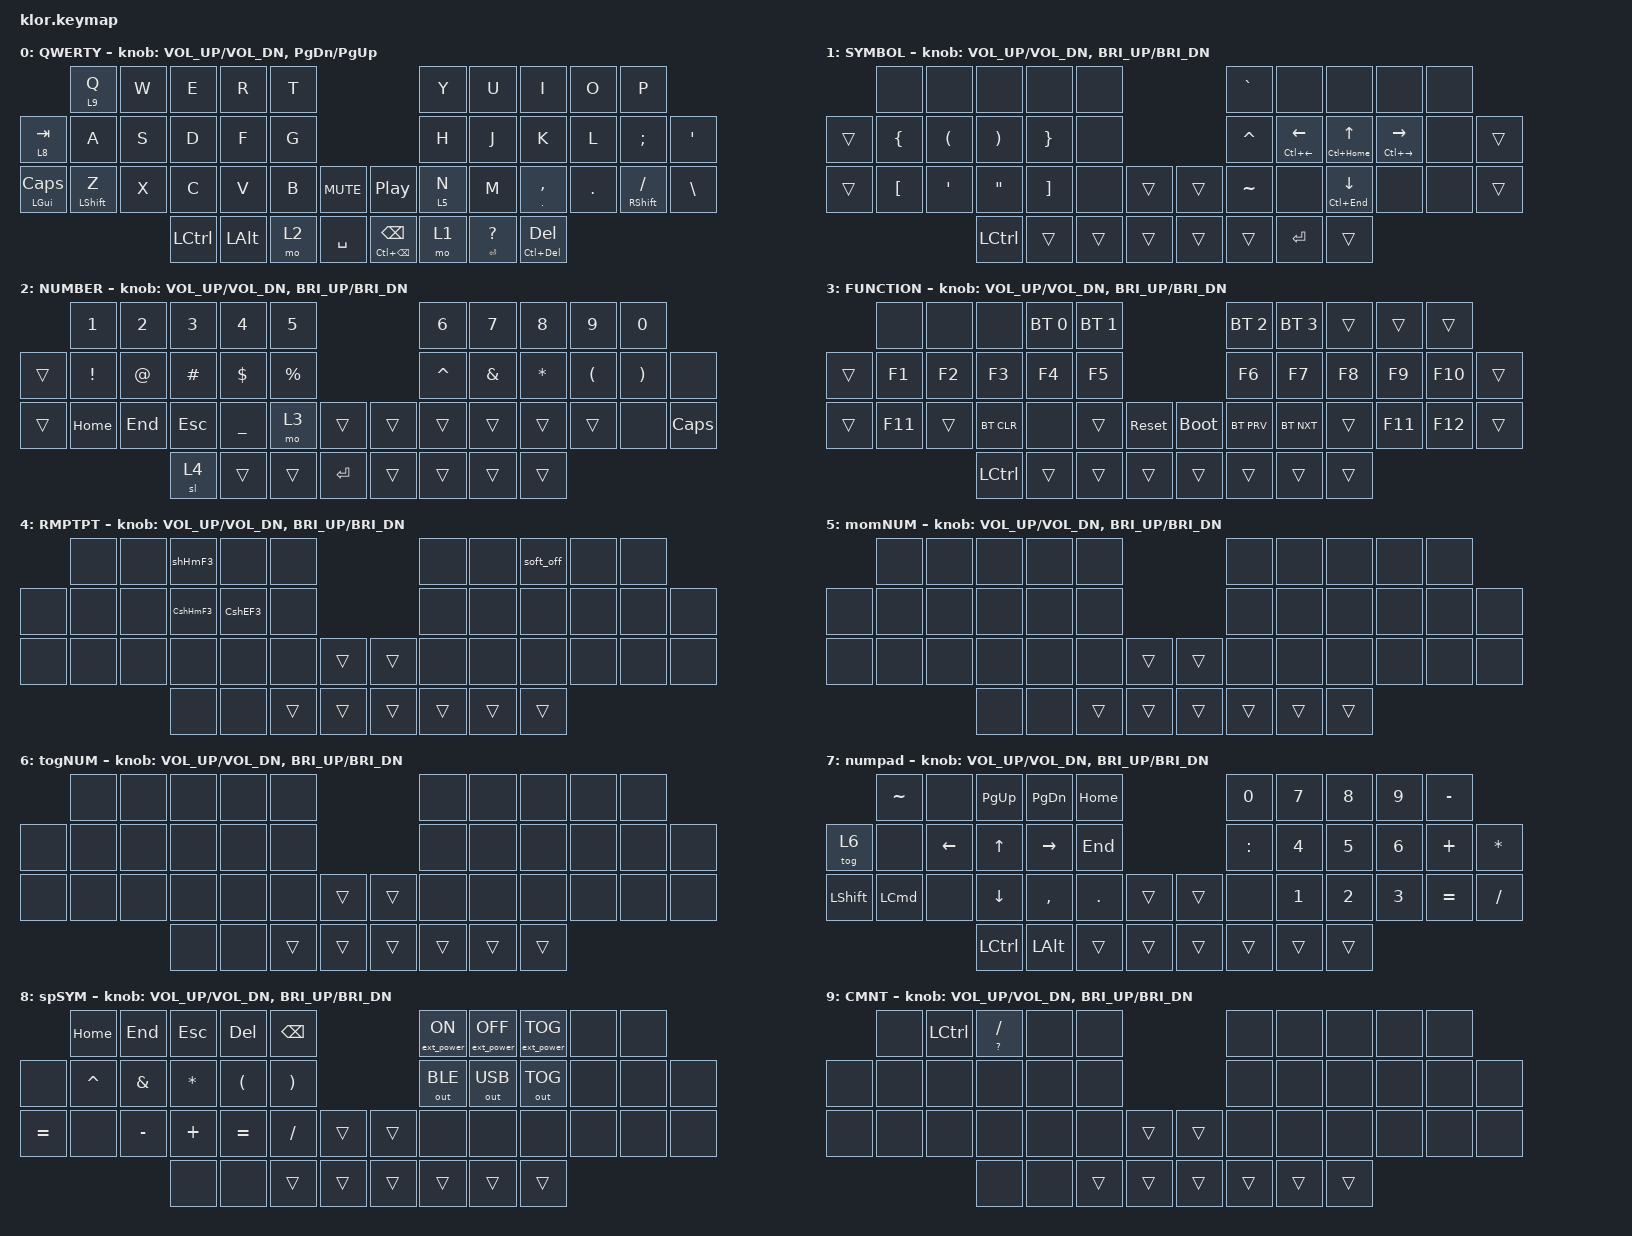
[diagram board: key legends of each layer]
#include <behaviors.dtsi>
#include <dt-bindings/zmk/bt.h>
#include <dt-bindings/zmk/keys.h>
#include <dt-bindings/zmk/ext_power.h>
#include <dt-bindings/zmk/outputs.h>

#include "helperRAK.h"

#define LMO_N  5
#define LTOGN  6
#define L_NUM  7

&lt { quick-tap-ms = <150>; };

// keep it high until you're familiar with keyboard to avoid misclicks
// later lower it to <= 200

&mt {
  flavor = "tap-preferred";
    tapping-term-ms = <300>;
};

&sl {
    release-after-ms = <2000>;
};

&soft_off {
    hold-time-ms = <1500>; // Only turn off it the key is held for 5 seconds or longer.
};

// combos
#undef COMBO_TERM
#define COMBO_TERM 50
ZMK_COMBO(esc,  &kp ESC, 0 1, 0, 25)

// ZMK_COMBO(copy,  &kp LC(C), 12 13)
// ZMK_COMBO(paste, &kp LC(V), 13 14)

ZMK_COMBO(ff2, &kp F2, 6 7, 0, 25)
ZMK_COMBO(ff4, &kp F4, 7 8, 0, 25)


#define NAV_LEFT  &mt LC(LEFT)   LEFT    // tap: left  | long-tap: beginning of line
#define NAV_RIGHT &mt LC(RIGHT)  RIGHT   // tap: right | long-tap: end       of line
#define NAV_UP    &mt LC(HOME) UP      // tap: up    | long-tap: beginning of document
#define NAV_DOWN  &mt LC(END)  DOWN    // tap: down  | long-tap: end       of document
#define NAV_BSPC  &mt LC(BSPC) BSPC    // tap: bspc  | long-tap: delete word backward
#define NAV_DEL   &mt LC(DEL)  DEL     // tap: del   | long-tap: delete word forward


// DO NOT MAKE LAYER LABELS LARGER

/ {

behaviors {
        s_or_amp: tap_dance_0 {
            compatible = "zmk,behavior-tap-dance";
            #binding-cells = <0>;
            tapping-term-ms = <200>;
            bindings = <&kp S>, <&kp AMPS>, <&kp N3>;
        };

        msb: mod_slash_back {
            compatible = "zmk,behavior-mod-morph";
            #binding-cells = <0>;
            bindings = <&kp SLASH>, <&kp BACKSLASH>;
            mods = <(MOD_LSFT|MOD_RSFT)>;
        };
};
macros {
        shHmF3: shHmF3 {
            compatible = "zmk,behavior-macro";
            #binding-cells = <0>;
            bindings
                = <&macro_press &kp LSHFT>
                , <&macro_tap &kp HOME>
                 , <&macro_release &kp LSHFT>
                , <&macro_wait_time 340>
               , <&macro_tap &kp F3>
                ;
        };

CshHmF3: CshHmF3 {
            compatible = "zmk,behavior-macro";
            #binding-cells = <0>;
            bindings
                = <&macro_press &kp LCTRL>
                , <&macro_press &kp LSHFT>
                , <&macro_tap &kp HOME>
                 , <&macro_release &kp LSHFT>, <&macro_release &kp LCTRL>
                , <&macro_wait_time 340>
               , <&macro_tap &kp F3>
                ;
        };

CshEF3: CshEF3 {
            compatible = "zmk,behavior-macro";
            #binding-cells = <0>;
            bindings
                = <&macro_press &kp LCTRL>
                , <&macro_press &kp LSHFT>
                , <&macro_tap &kp END>
                 , <&macro_release &kp LSHFT>, <&macro_release &kp LCTRL>
                , <&macro_wait_time 340>
               , <&macro_tap &kp F3>
                ;
        };

        vimQ: vim_hard_quit {
            compatible = "zmk,behavior-macro";
            #binding-cells = <0>;
            bindings = <&macro_tap &kp ESC>, <&kp COLON &kp Q &kp EXCL &kp RET>;
        };
    };

conditional_layers {
        compatible = "zmk,conditional-layers";
        momentary_numpad {
            if-layers = <5>;
            then-layer = <7>;
        };
        toggle_numpad {
            if-layers = <6>;
            then-layer = <7>;
        };
    };

    keymap {
        compatible = "zmk,keymap";

// ▄▄▄▄▄▄▄▄▄▄▄▄▄▄▄▄▄▄▄▄▄▄▄▄▄▄▄▄▄▄▄▄▄▄▄▄▄▄▄▄▄▄▄▄▄▄▄▄▄▄▄▄▄▄▄▄▄▄▄▄▄▄▄▄▄▄▄▄▄▄▄▄▄▄▄▄▄▄▄▄▄▄▄▄▄▄▄▄▄▄▄▄▄▄▄▄▄▄▄▄▄▄▄▄▄▄▄▄▄▄▄▄▄▄▄▄▄▄▄▄▄▄▄▄▄▄▄▄▄▄▄▄▄▄▄▄▄▄▄▄▄▄

    qwerty {
// ┌───────────────────────────────────────────────────────────┐
display-name = "QWERTY"                                       ;
// └───────────────────────────────────────────────────────────┘
/*           ┌─────────┬─────────┬─────────┬─────────┬─────────┐                    ┌─────────┬─────────┬─────────┬─────────┬─────────┐
             │    Q    │    W    │    E    │    R    │    T    │                    │    Y    │    U    │    I    │    O    │    P    │   
   ┌─────────┼─────────┼─────────┼─────────┼─────────┼─────────┤                    ├─────────┼─────────┼─────────┼─────────┼─────────┼─────────┐
   │   TAB   │    A    │    S    │    D    │    F    │    G    │                    │    H    │    J    │    K    │    L    │    ;    │    "    │
   ├─────────┼─────────┼─────────┼─────────┼─────────┼─────────┤╭────────╮╭────────╮├─────────┼─────────┼─────────┼─────────┼─────────┼─────────┤
   │   DEL   │    Z    │    X    │    C    │    V    │    B    ││  MUTE  ││PLY/PSE ││    N    │    M    │    ,    │    .    │    /    │    \    │
   └─────────┴─────────┴─────────┼─────────┼─────────┼─────────┼╰────────╯╰────────╯┼─────────┼─────────┼─────────┼─────────┴─────────┴─────────┘
                                 │  CTRL   │  ALT    │  LOWER  │   SPACE ││ CMD/WIN │  ENTER  │  RAISE  │  BSPCE  │  
                                 └─────────┴─────────┴─────────┴─────────┘└─────────┴─────────┴─────────┴─────────┘ */ 
 bindings = <
                &lt 9 Q    &kp W     &kp E     &kp R     &kp T                                        &kp Y      &kp U     &kp I      &kp O     &kp P
  &lt 8 TAB     &kp A      &kp S     &kp D     &kp F     &kp G                                        &kp H      &kp J     &kp K      &kp L     &kp SEMI          &kp SQT
&mt LGUI CAPS &mt LSHFT Z  &kp X     &kp C     &kp V     &kp B      &kp C_MUTE      &kp C_PLAY_PAUSE  &lt 5 N    &kp M  &mt DOT COMMA &kp DOT   &mt RSHIFT FSLH   &kp BSLH
                                  &kp LCTRL &kp LALT     &mo 2      &kp SPACE       NAV_BSPC          &mo 1  &mt RET QMARK NAV_DEL    
                        >;
            sensor-bindings = <&inc_dec_kp C_VOL_UP C_VOL_DN &inc_dec_kp PG_DN PG_UP>;
                };
// ▄▄▄▄▄▄▄▄▄▄▄▄▄▄▄▄▄▄▄▄▄▄▄▄▄▄▄▄▄▄▄▄▄▄▄▄▄▄▄▄▄▄▄▄▄▄▄▄▄▄▄▄▄▄▄▄▄▄▄▄▄▄▄▄▄▄▄▄▄▄▄▄▄▄▄▄▄▄▄▄▄▄▄▄▄▄▄▄▄▄▄▄▄▄▄▄▄▄▄▄▄▄▄▄▄▄▄▄▄▄▄▄▄▄▄▄▄▄▄▄▄▄▄▄▄▄▄▄▄▄▄▄▄▄▄▄▄▄▄▄▄▄ 
  
    sym {
            display-name = "SYMBOL";
label= "RAISE / 1" ;
 bindings = <
          &none         &none      &none     &none      &none                           &kp GRAVE   &none       &none      &none        &none
&trans    &kp LBRC      &kp LPAR   &kp RPAR  &kp RBRC   &none                           &kp CARET   NAV_LEFT    NAV_UP     NAV_RIGHT    &none      &trans
&trans    &kp LBKT      &kp SQT    &kp DQT   &kp RBKT   &none         &trans    &trans  &kp TILDE   &none       NAV_DOWN   &none        &none      &trans    
                                   &kp LCTRL &trans     &trans        &trans    &trans  &trans      &kp RET     &trans
            >;
                sensor-bindings = <&inc_dec_kp C_VOL_UP C_VOL_DN &inc_dec_kp C_BRI_UP C_BRI_DN>;
                };

    num {
            display-name = "NUMBER";
label= "LOWER/2"                                                 ;
bindings = <
        &kp N1    &kp N2    &kp N3   &kp N4    &kp N5                              &kp N6     &kp N7     &kp N8     &kp N9    &kp N0 
&trans  &kp EXCL  &kp AT    &kp HASH &kp DLLR  &kp PRCNT                           &kp CARET  &kp AMPS   &kp STAR   &kp LPAR  &kp RPAR    &none
&trans  &kp HOME  &kp END   &kp ESC  &kp UNDER &mo 3        &trans      &trans     &trans     &trans     &trans     &trans    &none       &kp CAPS
                            &sl 4    &trans    &trans       &kp RET     &trans     &trans     &trans     &trans
            >;
           sensor-bindings = <&inc_dec_kp C_VOL_UP C_VOL_DN &inc_dec_kp C_BRI_UP C_BRI_DN>;
                };

    fun {
            display-name = "FUNCTION";label= "3" ;
            bindings = <
        &none    &none    &none    &bt BT_SEL 0  &bt BT_SEL 1                                &bt BT_SEL 2  &bt BT_SEL 3  &trans  &trans  &trans
&trans  &kp F1   &kp F2   &kp F3   &kp F4        &kp F5                                      &kp F6        &kp F7        &kp F8  &kp F9  &kp F10  &trans
&trans  &kp F11  &trans   &bt BT_CLR  &none      &trans        &sys_reset       &bootloader  &bt BT_PRV    &bt BT_NXT    &trans  &kp F11 &kp F12  &trans
                          &kp LCTRL   &trans     &trans        &trans           &trans       &trans        &trans        &trans
            >;
            sensor-bindings = <&inc_dec_kp C_VOL_UP C_VOL_DN &inc_dec_kp C_BRI_UP C_BRI_DN>;
        };


    rak {
            display-name = "RMPTPT";label= "sticky layer 4" ;
            bindings = <
          &none   &none    &shHmF3  &none     &none                         &none     &none     &soft_off   &none    &none  
&none     &none   &none    &CshHmF3 &CshEF3   &none                         &none     &none     &none       &none    &none    &none  
&none     &none   &none    &none    &none     &none   &trans     &trans     &none     &none     &none       &none    &none    &none  
                           &none    &none     &trans  &trans     &trans     &trans    &trans    &trans  
        >;
            sensor-bindings = <&inc_dec_kp C_VOL_UP C_VOL_DN &inc_dec_kp C_BRI_UP C_BRI_DN>;
        };


    momentary_numpad {
 display-name = "momNUM";label= "5" ;
//          This layer only exists as a workaround to trigger the num layer through two mechanisms, &mo and &tog / &kt
//          The real magic for it happens in conditional layers
            bindings = < 
          &none   &none    &none    &none  &none                         &none     &none     &none   &none    &none  
&none     &none   &none    &none    &none  &none                         &none     &none     &none   &none    &none    &none  
&none     &none   &none    &none    &none  &none   &trans     &trans     &none     &none     &none   &none    &none    &none  
                           &none    &none  &trans  &trans     &trans     &trans    &trans    &trans  
        >;
            sensor-bindings = <&inc_dec_kp C_VOL_UP C_VOL_DN &inc_dec_kp C_BRI_UP C_BRI_DN>;
        };
    
    toggle_numpad {
 display-name = "togNUM";label= "6" ;
//          This layer only exists as a workaround to trigger the num layer through two mechanisms, &mo and &tog / &kt
//          The real magic for it happens in conditional layers
            bindings = < 
          &none   &none    &none    &none  &none                         &none     &none     &none   &none    &none  
&none     &none   &none    &none    &none  &none                         &none     &none     &none   &none    &none    &none  
&none     &none   &none    &none    &none  &none   &trans     &trans     &none     &none     &none   &none    &none    &none  
                           &none    &none  &trans  &trans     &trans     &trans    &trans    &trans  
        >;
            sensor-bindings = <&inc_dec_kp C_VOL_UP C_VOL_DN &inc_dec_kp C_BRI_UP C_BRI_DN>;
        };

    numpad {
            display-name = "numpad";label= "7" ;
            bindings = <
             &kp TILDE &none       &kp PG_UP  &kp PG_DN    &kp HOME                                 &kp N0     &kp N7  &kp N8  &kp N9 &kp MINUS
&tog 6       &none     &kp LEFT    &kp UP     &kp RIGHT    &kp END                                  &kp COLON  &kp N4  &kp N5  &kp N6 &kp PLUS  &kp STAR
&kp LSHFT    &kp LCMD  &none       &kp DOWN   &kp COMMA    &kp DOT &trans                 &trans    &none      &kp N1  &kp N2  &kp N3 &kp EQUAL &kp SLASH
                                  &kp LCTRL   &kp LALT     &trans  &trans                 &trans    &trans     &trans  &trans
        >;
        sensor-bindings = <&inc_dec_kp C_VOL_UP C_VOL_DN &inc_dec_kp C_BRI_UP C_BRI_DN>;
        };

    
    spSYM {
         display-name = "spSYM";
            label= "sp sym 8";
            bindings = < 
          &kp HOME      &kp END    &kp ESC    &kp DEL   &kp BSPC                      &ext_power EP_ON &ext_power EP_OFF &ext_power EP_TOG   &none    &none  
&none     &kp CARET     &kp AMPS   &kp STAR   &kp LPAR  &kp RPAR                        &out OUT_BLE   &out OUT_USB      &out OUT_TOG        &none    &none    &none  
&kp EQUAL &none         &kp MINUS  &kp PLUS   &kp EQUAL &kp SLASH   &trans     &trans     &none        &none             &none               &none    &none    &none  
                                   &none      &none     &trans      &trans     &trans     &trans       &trans            &trans  
        >;
        sensor-bindings = <&inc_dec_kp C_VOL_UP C_VOL_DN &inc_dec_kp C_BRI_UP C_BRI_DN>;
        };

    Cmnt {
         display-name = "CMNT";
            label= "Comment 9"                    ;
            bindings = < 
          &none   &kp LCTRL         &mt QMARK FSLH    &none  &none                                  &none     &none     &none   &none    &none  
&none     &none   &none             &none             &none  &none                                  &none     &none     &none   &none    &none    &none  
&none     &none   &none             &none             &none  &none            &trans     &trans     &none     &none     &none   &none    &none    &none  
                                    &none             &none  &trans           &trans     &trans     &trans    &trans    &trans  
        >;
        sensor-bindings = <&inc_dec_kp C_VOL_UP C_VOL_DN &inc_dec_kp C_BRI_UP C_BRI_DN>;
        };

    };
};
